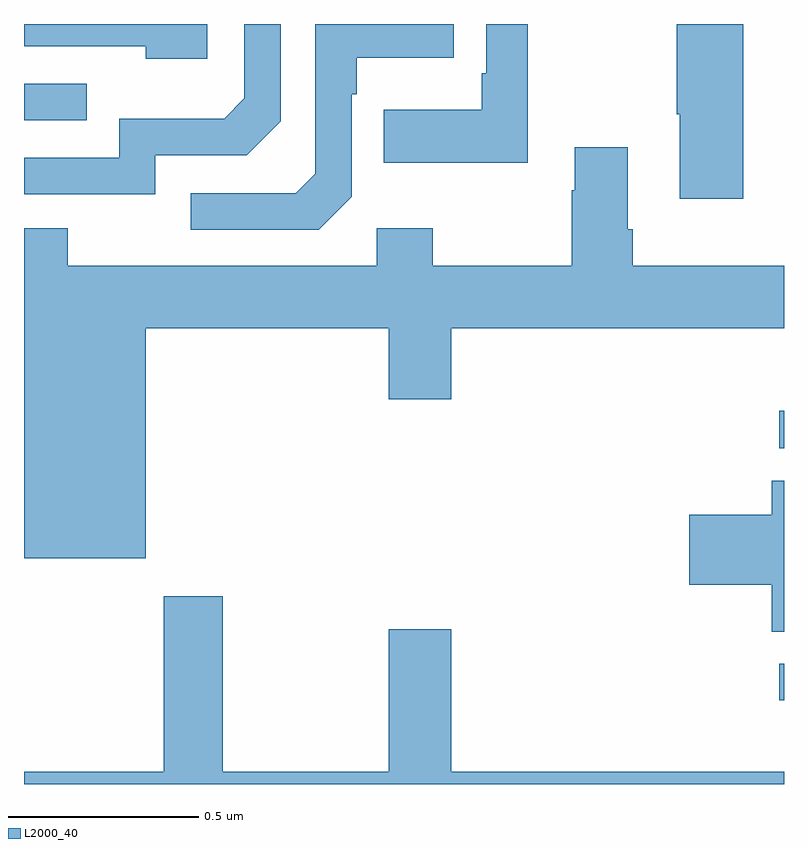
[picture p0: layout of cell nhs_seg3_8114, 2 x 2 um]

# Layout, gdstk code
import gdstk
lib = gdstk.Library(unit=1e-6, precision=1e-09)
def R(c, l, rs):  # rectangles x0, y0, x1, y1
    for r in rs: c.add(gdstk.rectangle(r[:2], r[2:], *l))
def P(c, l, *ps):  # polygons
    for p in ps: c.add(gdstk.Polygon(p, *l))
L2000_40 = (2000, 40)

nhs_seg3_8114 = lib.new_cell('nhs_seg3_8114')
R(nhs_seg3_8114, L2000_40, [(213.987,682.62,214,682.716), (213.987,683.283,214,683.382), (212,684.147,212.165,684.243)])
P(nhs_seg3_8114, L2000_40, [(213.893,684.4),(213.718,684.4),(213.718,684.163),(213.725,684.163),(213.725,683.94),(213.893,683.94)],
  [(212.482,684.4),(212,684.4),(212,684.342),(212.321,684.342),(212.321,684.308),(212.482,684.308)],
  [(212.862,683.946),(212.862,684.215),(212.875,684.215),(212.875,684.311),(213.131,684.311),(213.131,684.4),(212.766,684.4),(212.766,684.006),(212.715,683.955),(212.439,683.955),(212.439,683.859),(212.775,683.859)],
  [(213.325,684.4),(213.216,684.4),(213.216,684.271),(213.204,684.271),(213.204,684.175),(212.947,684.175),(212.947,684.035),(213.325,684.035)],
  [(212.346,684.054),(212.586,684.054),(212.676,684.144),(212.676,684.4),(212.58,684.4),(212.58,684.204),(212.527,684.151),(212.25,684.151),(212.25,684.048),(212,684.048),(212,683.952),(212.346,683.952)],
  [(212.32,683.6),(212.96,683.6),(212.96,683.412),(213.124,683.412),(213.124,683.6),(214,683.6),(214,683.764),(213.602,683.764),(213.602,683.86),(213.589,683.86),(213.589,684.076),(213.449,684.076),(213.449,683.963),(213.442,683.963),(213.442,683.764),(213.075,683.764),(213.075,683.863),(212.928,683.863),(212.928,683.764),(212.115,683.764),(212.115,683.863),(212,683.863),(212,682.994),(212.32,682.994)],
  [(214,683.198),(213.968,683.198),(213.968,683.108),(213.75,683.108),(213.75,682.925),(213.968,682.925),(213.968,682.801),(214,682.801)],
  [(214,682.432),(213.124,682.432),(213.124,682.807),(212.96,682.807),(212.96,682.432),(212.523,682.432),(212.523,682.894),(212.368,682.894),(212.368,682.432),(212,682.432),(212,682.4),(214,682.4)])

lib.write_gds('nhs_seg3_8114.gds')
